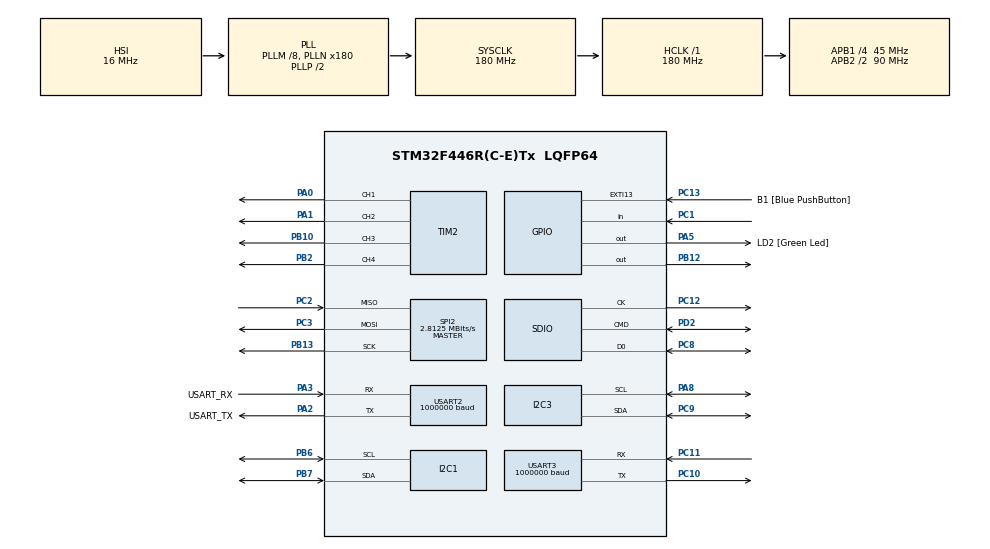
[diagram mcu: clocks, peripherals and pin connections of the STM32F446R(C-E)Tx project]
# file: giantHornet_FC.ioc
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FATFS.BSP.number=1
FATFS._FS_EXFAT=1
FATFS._MAX_SS=4096
FATFS._MULTI_PARTITION=1
FATFS._USE_LFN=2
FATFS0.BSP.STBoard=false
FATFS0.BSP.api=Unknown
FATFS0.BSP.instance=PC1
FATFS0.BSP.ip=GPIO
FATFS0.BSP.mode=Input
FATFS0.BSP.name=Detect_SDIO
FATFS0.BSP.solution=PC1
Mcu.Family=STM32F4
Mcu.Name=STM32F446R(C-E)Tx
Mcu.Package=LQFP64
NVIC.PriorityGroup=NVIC_PRIORITYGROUP_4
NVIC.TIM1_TRG_COM_TIM11_IRQn=true\:0\:0\:false\:false\:true\:true\:true\:true
NVIC.USART2_IRQn=true\:0\:0\:false\:false\:true\:true\:true\:true
NVIC.USART3_IRQn=true\:0\:0\:false\:false\:true\:true\:true\:true
PA0-WKUP.Signal=S_TIM2_CH1_ETR
PA1.Signal=S_TIM2_CH2
PA13.GPIO_Label=TMS
PA13.Mode=Serial_Wire
PA13.Signal=SYS_JTMS-SWDIO
PA14.GPIO_Label=TCK
PA14.Mode=Serial_Wire
PA14.Signal=SYS_JTCK-SWCLK
PA2.GPIO_Label=USART_TX
PA2.Mode=Asynchronous
PA2.Signal=USART2_TX
PA3.GPIO_Label=USART_RX
PA3.Mode=Asynchronous
PA3.Signal=USART2_RX
PA5.GPIO_Label=LD2 [Green Led]
PA5.Signal=GPIO_Output
PA8.Mode=I2C
PA8.Signal=I2C3_SCL
PB10.Signal=S_TIM2_CH3
PB12.Signal=GPIO_Output
PB13.Mode=Full_Duplex_Master
PB13.Signal=SPI2_SCK
PB2.Signal=S_TIM2_CH4
PB3.GPIO_Label=SWO
PB3.Signal=SYS_JTDO-SWO
PB6.Mode=I2C
PB6.Signal=I2C1_SCL
PB7.Mode=I2C
PB7.Signal=I2C1_SDA
PC1.Signal=GPIO_Input
PC10.Mode=Asynchronous
PC10.Signal=USART3_TX
PC11.Mode=Asynchronous
PC11.Signal=USART3_RX
PC12.Mode=SD_1_bit
PC12.Signal=SDIO_CK
PC13.GPIO_Label=B1 [Blue PushButton]
PC13.GPIO_ModeDefaultEXTI=GPIO_MODE_IT_FALLING
PC13.Signal=GPXTI13
PC14-OSC32_IN.Mode=LSE-External-Oscillator
PC14-OSC32_IN.Signal=RCC_OSC32_IN
PC15-OSC32_OUT.Mode=LSE-External-Oscillator
PC15-OSC32_OUT.Signal=RCC_OSC32_OUT
PC2.Mode=Full_Duplex_Master
PC2.Signal=SPI2_MISO
PC3.Mode=Full_Duplex_Master
PC3.Signal=SPI2_MOSI
PC8.Mode=SD_1_bit
PC8.Signal=SDIO_D0
PC9.Mode=I2C
PC9.Signal=I2C3_SDA
PD2.Mode=SD_1_bit
PD2.Signal=SDIO_CMD
PH0-OSC_IN.Mode=HSE-External-Oscillator
PH0-OSC_IN.Signal=RCC_OSC_IN
PH1-OSC_OUT.Mode=HSE-External-Oscillator
PH1-OSC_OUT.Signal=RCC_OSC_OUT
ProjectManager.HeapSize=0x400
ProjectManager.StackSize=0x1000
ProjectManager.TargetToolchain=STM32CubeIDE
RCC.48MHZClocksFreq_Value=84000000
RCC.AHBFreq_Value=180000000
RCC.APB1CLKDivider=RCC_HCLK_DIV4
RCC.APB1Freq_Value=45000000
RCC.APB1TimFreq_Value=90000000
RCC.APB2CLKDivider=RCC_HCLK_DIV2
RCC.APB2Freq_Value=90000000
RCC.APB2TimFreq_Value=180000000
RCC.CortexFreq_Value=180000000
RCC.FLatency-AdvancedSettings=FLASH_LATENCY_5
RCC.HCLKFreq_Value=180000000
RCC.HSE_VALUE=8000000
RCC.HSI_VALUE=16000000
RCC.PLLM=8
RCC.PLLN=180
RCC.PLLQ=8
RCC.SYSCLKFreq_VALUE=180000000
RCC.SYSCLKSource=RCC_SYSCLKSOURCE_PLLCLK
RCC.USBFreq_Value=45000000
RCC.VCOOutputFreq_Value=360000000
SDIO.ClockDiv=14
SH.S_TIM2_CH1_ETR.0=TIM2_CH1,PWM Generation1 CH1
SH.S_TIM2_CH2.0=TIM2_CH2,PWM Generation2 CH2
SH.S_TIM2_CH3.0=TIM2_CH3,PWM Generation3 CH3
SH.S_TIM2_CH4.0=TIM2_CH4,PWM Generation4 CH4
SPI2.BaudRatePrescaler=SPI_BAUDRATEPRESCALER_16
SPI2.CalculateBaudRate=2.8125 MBits/s
SPI2.Direction=SPI_DIRECTION_2LINES
SPI2.Mode=SPI_MODE_MASTER
SPI2.TIMode=SPI_TIMODE_DISABLE
SPI2.VirtualType=VM_MASTER
TIM11.Period=10000
TIM11.Prescaler=17
TIM2.Channel-PWM\ Generation1\ CH1=TIM_CHANNEL_1
TIM2.Channel-PWM\ Generation2\ CH2=TIM_CHANNEL_2
TIM2.Channel-PWM\ Generation3\ CH3=TIM_CHANNEL_3
TIM2.Channel-PWM\ Generation4\ CH4=TIM_CHANNEL_4
USART2.BaudRate=1000000
USART2.VirtualMode=VM_ASYNC
USART3.BaudRate=1000000
USART3.VirtualMode=VM_ASYNC
VP_FATFS_VS_SDIO.Mode=SDIO
VP_TIM11_VS_ClockSourceINT.Mode=Enable_Timer
VP_TIM2_VS_ClockSourceINT.Mode=Internal
board=NUCLEO-F446RE

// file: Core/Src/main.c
/* USER CODE BEGIN Header */
/**
  ******************************************************************************
  * @file           : main.c
  * @brief          : Main program body
  ******************************************************************************
  * @attention
  *
  * Copyright (c) 2025 STMicroelectronics.
  * All rights reserved.
  *
  * This software is licensed under terms that can be found in the LICENSE file
  * in the root directory of this software component.
  * If no LICENSE file comes with this software, it is provided AS-IS.
  *
  ******************************************************************************
  */
/* USER CODE END Header */
#include "main.h"
#include "fatfs.h"
#include "i2c.h"
#include "sdio.h"
#include "spi.h"
#include "tim.h"
#include "usart.h"
#include "gpio.h"

/* USER CODE BEGIN Includes */
#include "define.h"
#include "stdlib.h"
#include "string.h"
#include "stdio.h"
#include "math.h"

#include "hardware_imu.h"
#include "hardware_altitude.h"

#include "usart.h"
#include "function_bridge_FC.h"
#include "function_compute.h"
/* USER CODE END Includes */

/* USER CODE BEGIN PV */
uint8_t serialBuf[100];
MPU9250_t MPU9250;
Filtered_t filtered_attitude;
BMP280_HandleTypedef bmp280;

float pressure, temperature, humidity;

uint16_t size;
uint8_t Data[256];

uint32_t led_time;
uint32_t control_time;
/* USER CODE END PV */

void SystemClock_Config(void);

/* USER CODE BEGIN 0 */
int _write(int fd, char *ptr, int len)
{
  HAL_UART_Transmit(&huart2, (const uint8_t *)ptr, len, 100);
  return len;
}
/* USER CODE END 0 */

int main(void)
{

  /* USER CODE BEGIN 1 */
  MPU9250.settings.gFullScaleRange = GFSR_1000DPS;
  MPU9250.settings.aFullScaleRange = AFSR_8G;
  MPU9250.settings.CS_PIN = GPIO_PIN_12;
  MPU9250.settings.CS_PORT = GPIOB;

  /* USER CODE END 1 */

  /* MCU Configuration--------------------------------------------------------*/

  /* Reset of all peripherals, Initializes the Flash interface and the Systick. */
  HAL_Init();

  /* Configure the system clock */
  SystemClock_Config();

  /* Initialize all configured peripherals */
  MX_GPIO_Init();
  MX_USART2_UART_Init();
  MX_SDIO_SD_Init();
  MX_SPI2_Init();
  MX_USART3_UART_Init();
  MX_I2C1_Init();
  MX_I2C3_Init();
  MX_TIM2_Init();
  MX_TIM11_Init();
  MX_FATFS_Init();
  /* USER CODE BEGIN 2 */
  bridge_init();

  // Initialize SD card logging
  if (SD_Init()) {
    sprintf((char *)serialBuf, "SD Card initialized successfully\r\n");
    HAL_UART_Transmit(&huart2, serialBuf, strlen((char *)serialBuf), HAL_MAX_DELAY);
  } else {
    sprintf((char *)serialBuf, "SD Card initialization failed\r\n");
    HAL_UART_Transmit(&huart2, serialBuf, strlen((char *)serialBuf), HAL_MAX_DELAY);
  }
  // IMU initial function
  // Check if IMU configured properly and block if it didn't
  if (MPU_begin(&hspi2, &MPU9250) != TRUE)
  {
    sprintf((char *)serialBuf, "ERROR!\r\n");
    HAL_UART_Transmit(&huart2, serialBuf, strlen((char *)serialBuf), HAL_MAX_DELAY);
    while (1){}
  }

    // Calibrate the IMU
    sprintf((char *)serialBuf, "CALIBRATING...\r\n");
    HAL_UART_Transmit(&huart2, serialBuf, strlen((char *)serialBuf), HAL_MAX_DELAY);
    MPU_calibrateGyro(&hspi2, &MPU9250, 1500);
    // IMU Process end
    /*
    bmp280_init_default_params(&bmp280.params);
	bmp280.addr = BMP280_I2C_ADDRESS_0;
	bmp280.i2c = &hi2c3;

	while (!bmp280_init(&bmp280, &bmp280.params)) {
		size = sprintf((char *)Data, "BMP280 initialization failed\n");
		HAL_UART_Transmit(&huart2, Data, size, 1000);
		HAL_Delay(2000);
	}
	bool bme280p = bmp280.id == BME280_CHIP_ID;
	size = sprintf((char *)Data, "BMP280: found %s\n", bme280p ? "BME280" : "BMP280");
	HAL_UART_Transmit(&huart2, Data, size, 1000);
    */
    // Start timer and put processor into an efficient low power mode
    //HAL_TIM_Base_Start_IT(&htim11);
    //HAL_PWR_EnableSleepOnExit();
    //HAL_PWR_EnterSLEEPMode(PWR_MAINREGULATOR_ON, PWR_SLEEPENTRY_WFI);
  /* USER CODE END 2 */

  /* Infinite loop */
  /* USER CODE BEGIN WHILE */
    printf("FC - loop start\n");

    control_loop_init();
    while (1)
    {
    /* USER CODE END WHILE */

    /* USER CODE BEGIN 3 */
    if((HAL_GetTick() - led_time) > 500) {
      led_time = HAL_GetTick();
      HAL_GPIO_TogglePin(LD2_GPIO_Port, LD2_Pin);
    }

    bridge_task();

    // control loop
    if((HAL_GetTick() - control_time) > 10) {
      control_time = HAL_GetTick();
      control_loop(&hspi2, &MPU9250, &filtered_attitude);
    }
  }
  /* USER CODE END 3 */
}

void SystemClock_Config(void)
{
  RCC_OscInitTypeDef RCC_OscInitStruct = {0};
  RCC_ClkInitTypeDef RCC_ClkInitStruct = {0};

  /** Configure the main internal regulator output voltage
  */
  __HAL_RCC_PWR_CLK_ENABLE();
  __HAL_PWR_VOLTAGESCALING_CONFIG(PWR_REGULATOR_VOLTAGE_SCALE1);

  /** Initializes the RCC Oscillators according to the specified parameters
  * in the RCC_OscInitTypeDef structure.
  */
  RCC_OscInitStruct.OscillatorType = RCC_OSCILLATORTYPE_HSI;
  RCC_OscInitStruct.HSIState = RCC_HSI_ON;
  RCC_OscInitStruct.HSICalibrationValue = RCC_HSICALIBRATION_DEFAULT;
  RCC_OscInitStruct.PLL.PLLState = RCC_PLL_ON;
  RCC_OscInitStruct.PLL.PLLSource = RCC_PLLSOURCE_HSI;
  RCC_OscInitStruct.PLL.PLLM = 8;
  RCC_OscInitStruct.PLL.PLLN = 180;
  RCC_OscInitStruct.PLL.PLLP = RCC_PLLP_DIV2;
  RCC_OscInitStruct.PLL.PLLQ = 8;
  RCC_OscInitStruct.PLL.PLLR = 2;
  if (HAL_RCC_OscConfig(&RCC_OscInitStruct) != HAL_OK)
  {
    Error_Handler();
  }

  /** Activate the Over-Drive mode
  */
  if (HAL_PWREx_EnableOverDrive() != HAL_OK)
  {
    Error_Handler();
  }

  /** Initializes the CPU, AHB and APB buses clocks
  */
  RCC_ClkInitStruct.ClockType = RCC_CLOCKTYPE_HCLK|RCC_CLOCKTYPE_SYSCLK
                              |RCC_CLOCKTYPE_PCLK1|RCC_CLOCKTYPE_PCLK2;
  RCC_ClkInitStruct.SYSCLKSource = RCC_SYSCLKSOURCE_PLLCLK;
  RCC_ClkInitStruct.AHBCLKDivider = RCC_SYSCLK_DIV1;
  RCC_ClkInitStruct.APB1CLKDivider = RCC_HCLK_DIV4;
  RCC_ClkInitStruct.APB2CLKDivider = RCC_HCLK_DIV2;

  if (HAL_RCC_ClockConfig(&RCC_ClkInitStruct, FLASH_LATENCY_5) != HAL_OK)
  {
    Error_Handler();
  }
}

void Error_Handler(void)
{
  __disable_irq();
  while (1)
  {
  }
}
